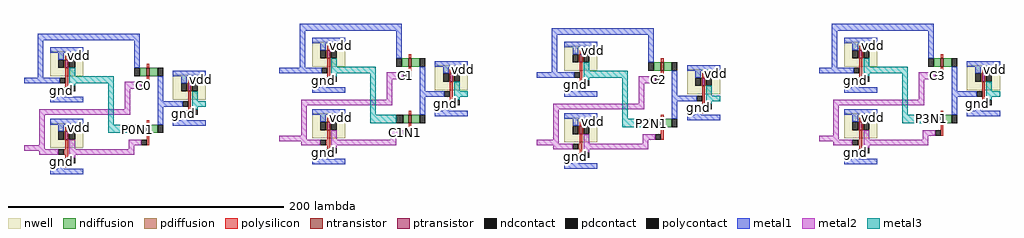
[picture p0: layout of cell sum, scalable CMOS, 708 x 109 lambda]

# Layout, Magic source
magic
tech scmos
<< nwell >>
rect 742 -296 766 -278
rect 932 -289 956 -271
rect 831 -313 855 -295
rect 1021 -306 1045 -288
rect 1115 -292 1139 -274
rect 1318 -289 1342 -271
rect 1204 -309 1228 -291
rect 1407 -306 1431 -288
rect 742 -348 766 -330
rect 932 -341 956 -323
rect 1115 -344 1139 -326
rect 1318 -341 1342 -323
<< ntransistor >>
rect 812 -296 814 -290
rect 753 -307 755 -304
rect 1002 -289 1004 -283
rect 943 -300 945 -297
rect 1185 -292 1187 -286
rect 1126 -303 1128 -300
rect 1388 -289 1390 -283
rect 1329 -300 1331 -297
rect 1032 -317 1034 -314
rect 842 -324 844 -321
rect 1215 -320 1217 -317
rect 1418 -317 1420 -314
rect 812 -337 814 -331
rect 1002 -330 1004 -324
rect 1185 -333 1187 -327
rect 1388 -330 1390 -324
rect 943 -352 945 -349
rect 753 -359 755 -356
rect 1126 -355 1128 -352
rect 1329 -352 1331 -349
<< ptransistor >>
rect 943 -283 945 -277
rect 753 -290 755 -284
rect 1126 -286 1128 -280
rect 1329 -283 1331 -277
rect 1032 -300 1034 -294
rect 842 -307 844 -301
rect 1215 -303 1217 -297
rect 1418 -300 1420 -294
rect 753 -342 755 -336
rect 943 -335 945 -329
rect 1126 -338 1128 -332
rect 1329 -335 1331 -329
<< ndiffusion >>
rect 807 -296 812 -290
rect 814 -296 820 -290
rect 752 -307 753 -304
rect 755 -307 756 -304
rect 997 -289 1002 -283
rect 1004 -289 1010 -283
rect 942 -300 943 -297
rect 945 -300 946 -297
rect 1180 -292 1185 -286
rect 1187 -292 1193 -286
rect 1125 -303 1126 -300
rect 1128 -303 1129 -300
rect 1383 -289 1388 -283
rect 1390 -289 1396 -283
rect 1328 -300 1329 -297
rect 1331 -300 1332 -297
rect 1031 -317 1032 -314
rect 1034 -317 1035 -314
rect 841 -324 842 -321
rect 844 -324 845 -321
rect 1214 -320 1215 -317
rect 1217 -320 1218 -317
rect 1417 -317 1418 -314
rect 1420 -317 1421 -314
rect 808 -337 812 -331
rect 814 -337 820 -331
rect 998 -330 1002 -324
rect 1004 -330 1010 -324
rect 1181 -333 1185 -327
rect 1187 -333 1193 -327
rect 1384 -330 1388 -324
rect 1390 -330 1396 -324
rect 942 -352 943 -349
rect 945 -352 946 -349
rect 752 -359 753 -356
rect 755 -359 756 -356
rect 1125 -355 1126 -352
rect 1128 -355 1129 -352
rect 1328 -352 1329 -349
rect 1331 -352 1332 -349
<< pdiffusion >>
rect 942 -283 943 -277
rect 945 -283 946 -277
rect 752 -290 753 -284
rect 755 -290 756 -284
rect 1125 -286 1126 -280
rect 1128 -286 1129 -280
rect 1328 -283 1329 -277
rect 1331 -283 1332 -277
rect 1031 -300 1032 -294
rect 1034 -300 1035 -294
rect 841 -307 842 -301
rect 844 -307 845 -301
rect 1214 -303 1215 -297
rect 1217 -303 1218 -297
rect 1417 -300 1418 -294
rect 1420 -300 1421 -294
rect 752 -342 753 -336
rect 755 -342 756 -336
rect 942 -335 943 -329
rect 945 -335 946 -329
rect 1125 -338 1126 -332
rect 1128 -338 1129 -332
rect 1328 -335 1329 -329
rect 1331 -335 1332 -329
<< ndcontact >>
rect 803 -296 807 -290
rect 820 -296 824 -290
rect 748 -308 752 -304
rect 756 -307 760 -303
rect 993 -289 997 -283
rect 1010 -289 1014 -283
rect 938 -301 942 -297
rect 946 -300 950 -296
rect 1176 -292 1180 -286
rect 1193 -292 1197 -286
rect 1121 -304 1125 -300
rect 1129 -303 1133 -299
rect 1379 -289 1383 -283
rect 1396 -289 1400 -283
rect 1324 -301 1328 -297
rect 1332 -300 1336 -296
rect 1027 -318 1031 -314
rect 1035 -317 1039 -313
rect 837 -325 841 -321
rect 845 -324 849 -320
rect 1210 -321 1214 -317
rect 1218 -320 1222 -316
rect 1413 -318 1417 -314
rect 1421 -317 1425 -313
rect 803 -337 808 -331
rect 820 -337 824 -331
rect 993 -330 998 -324
rect 1010 -330 1014 -324
rect 1176 -333 1181 -327
rect 1193 -333 1197 -327
rect 1379 -330 1384 -324
rect 1396 -330 1400 -324
rect 938 -353 942 -349
rect 946 -352 950 -348
rect 748 -360 752 -356
rect 756 -359 760 -355
rect 1121 -356 1125 -352
rect 1129 -355 1133 -351
rect 1324 -353 1328 -349
rect 1332 -352 1336 -348
<< pdcontact >>
rect 938 -283 942 -277
rect 946 -283 950 -277
rect 748 -290 752 -284
rect 756 -290 760 -284
rect 1121 -286 1125 -280
rect 1129 -286 1133 -280
rect 1324 -283 1328 -277
rect 1332 -283 1336 -277
rect 1027 -300 1031 -294
rect 1035 -300 1039 -294
rect 837 -307 841 -301
rect 845 -307 849 -301
rect 1210 -303 1214 -297
rect 1218 -303 1222 -297
rect 1413 -300 1417 -294
rect 1421 -300 1425 -294
rect 748 -342 752 -336
rect 756 -342 760 -336
rect 938 -335 942 -329
rect 946 -335 950 -329
rect 1121 -338 1125 -332
rect 1129 -338 1133 -332
rect 1324 -335 1328 -329
rect 1332 -335 1336 -329
<< polysilicon >>
rect 943 -277 945 -274
rect 1329 -277 1331 -274
rect 753 -284 755 -281
rect 1126 -280 1128 -277
rect 1002 -283 1004 -280
rect 812 -290 814 -287
rect 753 -304 755 -290
rect 812 -305 814 -296
rect 943 -297 945 -283
rect 1388 -283 1390 -280
rect 1185 -286 1187 -283
rect 842 -301 844 -298
rect 1002 -298 1004 -289
rect 1032 -294 1034 -291
rect 1126 -300 1128 -286
rect 943 -303 945 -300
rect 753 -310 755 -307
rect 842 -321 844 -307
rect 1032 -314 1034 -300
rect 1185 -301 1187 -292
rect 1215 -297 1217 -294
rect 1329 -297 1331 -283
rect 1388 -298 1390 -289
rect 1418 -294 1420 -291
rect 1329 -303 1331 -300
rect 1126 -306 1128 -303
rect 1215 -317 1217 -303
rect 1418 -314 1420 -300
rect 1032 -320 1034 -317
rect 1418 -320 1420 -317
rect 1002 -324 1004 -321
rect 1215 -323 1217 -320
rect 1388 -324 1390 -321
rect 842 -327 844 -324
rect 812 -331 814 -328
rect 943 -329 945 -326
rect 753 -336 755 -333
rect 1185 -327 1187 -324
rect 753 -349 755 -342
rect 812 -346 814 -337
rect 943 -342 945 -335
rect 1002 -339 1004 -330
rect 1126 -332 1128 -329
rect 1329 -329 1331 -326
rect 942 -346 945 -342
rect 1126 -345 1128 -338
rect 1185 -342 1187 -333
rect 1329 -342 1331 -335
rect 1388 -339 1390 -330
rect 943 -349 945 -346
rect 752 -353 755 -349
rect 1125 -349 1128 -345
rect 1328 -346 1331 -342
rect 1329 -349 1331 -346
rect 1126 -352 1128 -349
rect 753 -356 755 -353
rect 943 -355 945 -352
rect 1329 -355 1331 -352
rect 1126 -358 1128 -355
rect 753 -362 755 -359
<< polycontact >>
rect 749 -301 753 -297
rect 939 -294 943 -290
rect 808 -305 812 -300
rect 998 -298 1002 -293
rect 1122 -297 1126 -293
rect 838 -318 842 -314
rect 1028 -311 1032 -307
rect 1181 -301 1185 -296
rect 1325 -294 1329 -290
rect 1384 -298 1388 -293
rect 1211 -314 1215 -310
rect 1414 -311 1418 -307
rect 808 -346 812 -342
rect 998 -339 1002 -335
rect 938 -346 942 -342
rect 1181 -342 1185 -338
rect 1384 -339 1388 -335
rect 748 -353 752 -349
rect 1121 -349 1125 -345
rect 1324 -346 1328 -342
<< metal1 >>
rect 923 -263 997 -258
rect 733 -270 807 -265
rect 733 -297 737 -270
rect 742 -279 766 -275
rect 748 -284 752 -279
rect 803 -290 807 -270
rect 923 -290 927 -263
rect 932 -272 956 -268
rect 938 -277 942 -272
rect 993 -283 997 -263
rect 1106 -266 1180 -261
rect 1021 -289 1045 -285
rect 831 -296 855 -292
rect 908 -294 939 -290
rect 723 -301 749 -297
rect 748 -311 752 -308
rect 742 -315 766 -311
rect 820 -314 824 -296
rect 837 -301 841 -296
rect 938 -304 942 -301
rect 932 -308 956 -304
rect 1010 -307 1014 -289
rect 1027 -294 1031 -289
rect 1106 -293 1110 -266
rect 1115 -275 1139 -271
rect 1121 -280 1125 -275
rect 1176 -286 1180 -266
rect 1309 -263 1383 -258
rect 1204 -292 1228 -288
rect 1309 -290 1313 -263
rect 1318 -272 1342 -268
rect 1324 -277 1328 -272
rect 1379 -283 1383 -263
rect 1407 -289 1431 -285
rect 1095 -297 1122 -293
rect 1121 -307 1125 -304
rect 1010 -311 1028 -307
rect 1115 -311 1139 -307
rect 1193 -310 1197 -292
rect 1210 -297 1214 -292
rect 1300 -294 1325 -290
rect 1324 -304 1328 -301
rect 1318 -308 1342 -304
rect 1396 -307 1400 -289
rect 1413 -294 1417 -289
rect 820 -318 838 -314
rect 742 -331 766 -327
rect 820 -331 824 -318
rect 932 -324 956 -320
rect 1010 -324 1014 -311
rect 1193 -314 1211 -310
rect 1396 -311 1414 -307
rect 1027 -321 1031 -318
rect 837 -328 841 -325
rect 748 -336 752 -331
rect 831 -332 855 -328
rect 938 -329 942 -324
rect 1021 -325 1045 -321
rect 1115 -327 1139 -323
rect 1193 -327 1197 -314
rect 1210 -324 1214 -321
rect 1318 -324 1342 -320
rect 1396 -324 1400 -311
rect 1413 -321 1417 -318
rect 1121 -332 1125 -327
rect 1204 -328 1228 -324
rect 1324 -329 1328 -324
rect 1407 -325 1431 -321
rect 938 -356 942 -353
rect 1324 -356 1328 -353
rect 932 -360 956 -356
rect 1121 -359 1125 -356
rect 748 -363 752 -360
rect 1115 -363 1139 -359
rect 1318 -360 1342 -356
rect 742 -367 766 -363
<< metal2 >>
rect 986 -298 998 -293
rect 796 -305 808 -300
rect 796 -320 800 -305
rect 986 -313 990 -298
rect 734 -324 800 -320
rect 924 -317 990 -313
rect 1169 -301 1181 -296
rect 1372 -298 1384 -293
rect 1169 -316 1173 -301
rect 1372 -313 1376 -298
rect 734 -346 738 -324
rect 924 -339 928 -317
rect 1107 -320 1173 -316
rect 1310 -317 1376 -313
rect 908 -342 928 -339
rect 946 -342 950 -335
rect 989 -339 998 -335
rect 989 -342 993 -339
rect 1107 -342 1111 -320
rect 723 -349 738 -346
rect 756 -349 760 -342
rect 799 -346 808 -342
rect 908 -343 938 -342
rect 924 -346 938 -343
rect 946 -346 993 -342
rect 1095 -345 1111 -342
rect 1129 -345 1133 -338
rect 1172 -342 1181 -338
rect 1310 -339 1314 -317
rect 1300 -342 1314 -339
rect 1332 -342 1336 -335
rect 1375 -339 1384 -335
rect 1375 -342 1379 -339
rect 1172 -345 1176 -342
rect 1300 -343 1324 -342
rect 1095 -346 1121 -345
rect 799 -349 803 -346
rect 946 -348 950 -346
rect 1107 -349 1121 -346
rect 1129 -349 1176 -345
rect 1310 -346 1324 -343
rect 1332 -346 1379 -342
rect 1332 -348 1336 -346
rect 723 -350 748 -349
rect 734 -353 748 -350
rect 756 -353 803 -349
rect 1129 -351 1133 -349
rect 756 -355 760 -353
<< metal3 >>
rect 946 -289 950 -283
rect 756 -296 760 -290
rect 946 -294 978 -289
rect 946 -296 950 -294
rect 756 -301 788 -296
rect 756 -303 760 -301
rect 784 -331 788 -301
rect 845 -314 849 -307
rect 845 -318 855 -314
rect 845 -320 849 -318
rect 974 -324 978 -294
rect 1129 -292 1133 -286
rect 1332 -289 1336 -283
rect 1129 -297 1161 -292
rect 1332 -294 1364 -289
rect 1332 -296 1336 -294
rect 1129 -299 1133 -297
rect 1035 -307 1039 -300
rect 1035 -311 1045 -307
rect 1035 -313 1039 -311
rect 974 -330 993 -324
rect 1157 -327 1161 -297
rect 1218 -310 1222 -303
rect 1218 -314 1228 -310
rect 1218 -316 1222 -314
rect 1360 -324 1364 -294
rect 1421 -307 1425 -300
rect 1421 -311 1431 -307
rect 1421 -313 1425 -311
rect 784 -337 803 -331
rect 1157 -333 1176 -327
rect 1360 -330 1379 -324
<< labels >>
rlabel nwell 762 -282 764 -280 1 vdd
rlabel pdcontact 748 -290 752 -284 1 vdd
rlabel nwell 762 -334 764 -332 1 vdd
rlabel pdcontact 748 -342 752 -336 1 vdd
rlabel nwell 851 -299 853 -297 1 vdd
rlabel pdcontact 837 -307 841 -301 1 vdd
rlabel ndcontact 837 -325 841 -321 1 gnd
rlabel ndcontact 748 -308 752 -304 1 gnd
rlabel ndcontact 748 -360 752 -356 1 gnd
rlabel polycontact 749 -301 753 -297 1 P0
rlabel polycontact 748 -353 752 -349 1 C0
rlabel polycontact 808 -305 812 -300 1 C0
rlabel ndcontact 756 -307 760 -303 1 P0N1
rlabel ndcontact 803 -337 807 -332 1 P0N1
rlabel pdcontact 756 -342 760 -336 1 C0N1
rlabel ndcontact 756 -359 760 -355 1 C0N1
rlabel polycontact 808 -346 812 -342 1 C0N1
rlabel ndcontact 803 -296 807 -291 1 P0
rlabel ndcontact 820 -295 824 -291 1 S0N
rlabel ndcontact 820 -336 824 -332 1 S0N
rlabel polycontact 838 -318 842 -314 1 S0N
rlabel ndcontact 845 -324 849 -320 1 S0
rlabel pdcontact 845 -307 849 -301 1 S0
rlabel pdcontact 756 -290 760 -284 1 P0N1
rlabel nwell 952 -275 954 -273 1 vdd
rlabel pdcontact 938 -283 942 -277 1 vdd
rlabel nwell 952 -327 954 -325 1 vdd
rlabel pdcontact 938 -335 942 -329 1 vdd
rlabel nwell 1041 -292 1043 -290 1 vdd
rlabel pdcontact 1027 -300 1031 -294 1 vdd
rlabel ndcontact 1027 -318 1031 -314 1 gnd
rlabel ndcontact 938 -301 942 -297 1 gnd
rlabel ndcontact 938 -353 942 -349 1 gnd
rlabel polycontact 939 -294 943 -290 1 P1
rlabel polycontact 938 -346 942 -342 1 C1
rlabel pdcontact 946 -335 950 -329 1 C1N1
rlabel ndcontact 946 -352 950 -348 1 C1N1
rlabel polycontact 998 -339 1002 -335 1 C1N1
rlabel ndcontact 946 -300 950 -296 1 P1N1
rlabel pdcontact 946 -283 950 -277 1 P1N1
rlabel ndcontact 993 -330 997 -325 1 P1N1
rlabel polycontact 998 -298 1002 -293 1 C1
rlabel ndcontact 1010 -329 1014 -325 1 S1N
rlabel ndcontact 1010 -288 1014 -284 1 S1N
rlabel polycontact 1028 -311 1032 -307 1 S1N
rlabel ndcontact 1035 -317 1039 -313 1 S1
rlabel pdcontact 1035 -300 1039 -294 1 S1
rlabel ndcontact 993 -289 997 -283 1 P1
rlabel nwell 1135 -278 1137 -276 1 vdd
rlabel pdcontact 1121 -286 1125 -280 1 vdd
rlabel nwell 1135 -330 1137 -328 1 vdd
rlabel pdcontact 1121 -338 1125 -332 1 vdd
rlabel nwell 1224 -295 1226 -293 1 vdd
rlabel pdcontact 1210 -303 1214 -297 1 vdd
rlabel ndcontact 1210 -321 1214 -317 1 gnd
rlabel ndcontact 1121 -304 1125 -300 1 gnd
rlabel ndcontact 1121 -356 1125 -352 1 gnd
rlabel polycontact 1122 -297 1126 -293 1 P2
rlabel ndcontact 1129 -303 1133 -299 1 P2N1
rlabel pdcontact 1129 -286 1133 -280 1 P2N1
rlabel ndcontact 1176 -333 1180 -327 1 P2N1
rlabel polycontact 1121 -349 1125 -345 1 C2
rlabel pdcontact 1129 -338 1133 -332 1 C2N1
rlabel ndcontact 1129 -355 1133 -351 1 C2N1
rlabel polycontact 1181 -342 1185 -338 1 C2N1
rlabel polycontact 1181 -301 1185 -296 1 C2
rlabel ndcontact 1193 -332 1197 -327 1 S2N
rlabel ndcontact 1193 -291 1197 -286 1 S2N
rlabel polycontact 1211 -314 1215 -310 1 S2N
rlabel pdcontact 1218 -303 1222 -297 1 S2
rlabel ndcontact 1218 -320 1222 -316 1 S2
rlabel nwell 1338 -275 1340 -273 1 vdd
rlabel pdcontact 1324 -283 1328 -277 1 vdd
rlabel nwell 1338 -327 1340 -325 1 vdd
rlabel pdcontact 1324 -335 1328 -329 1 vdd
rlabel nwell 1427 -292 1429 -290 1 vdd
rlabel pdcontact 1413 -300 1417 -294 1 vdd
rlabel ndcontact 1413 -318 1417 -314 1 gnd
rlabel ndcontact 1324 -301 1328 -297 1 gnd
rlabel ndcontact 1324 -353 1328 -349 1 gnd
rlabel polycontact 1325 -294 1329 -290 1 P3
rlabel ndcontact 1332 -300 1336 -296 1 P3N1
rlabel pdcontact 1332 -283 1336 -277 1 P3N1
rlabel ndcontact 1379 -330 1383 -324 1 P3N1
rlabel polycontact 1324 -346 1328 -342 1 C3
rlabel pdcontact 1332 -335 1336 -329 1 C3N1
rlabel ndcontact 1332 -352 1336 -348 1 C3N1
rlabel polycontact 1384 -339 1388 -335 1 C3N1
rlabel polycontact 1384 -298 1388 -293 1 C3
rlabel ndcontact 1379 -289 1383 -283 1 P3
rlabel ndcontact 1396 -329 1400 -324 1 S3N
rlabel ndcontact 1396 -288 1400 -283 1 S3N
rlabel polycontact 1414 -311 1418 -307 1 S3N
rlabel ndcontact 1421 -317 1425 -313 1 S3
rlabel pdcontact 1421 -300 1425 -294 1 S3
rlabel ndcontact 1176 -292 1180 -286 1 P2
<< end >>
